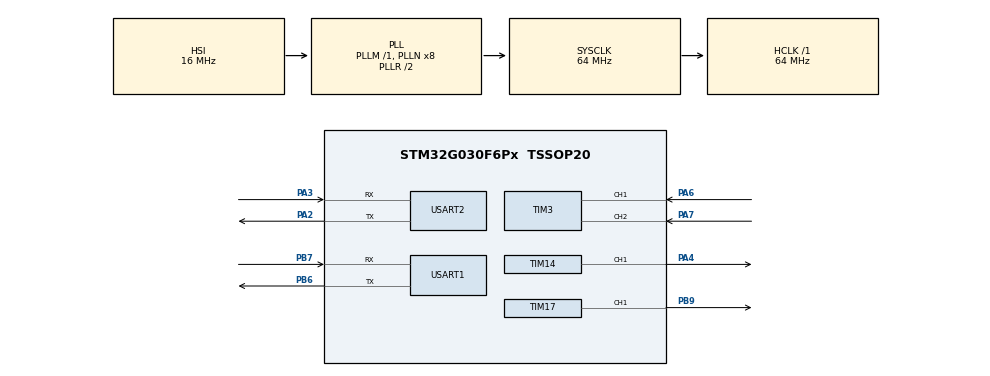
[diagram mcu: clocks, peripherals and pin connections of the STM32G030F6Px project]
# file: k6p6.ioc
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Mcu.Family=STM32G0
Mcu.Name=STM32G030F6Px
Mcu.Package=TSSOP20
PA13.Mode=Serial_Wire
PA13.Signal=SYS_SWDIO
PA14-BOOT0.Mode=Serial_Wire
PA14-BOOT0.Signal=SYS_SWCLK
PA2.Mode=Asynchronous
PA2.Signal=USART2_TX
PA3.Mode=Asynchronous
PA3.Signal=USART2_RX
PA4.Signal=S_TIM14_CH1
PA6.Signal=S_TIM3_CH1
PA7.Signal=S_TIM3_CH2
PB6.Mode=Asynchronous
PB6.Signal=USART1_TX
PB7.Mode=Asynchronous
PB7.Signal=USART1_RX
PB9.Signal=S_TIM17_CH1
ProjectManager.HeapSize=0x200
ProjectManager.StackSize=0x400
ProjectManager.TargetToolchain=MDK-ARM V5.32
RCC.ADCFreq_Value=64000000
RCC.AHBFreq_Value=64000000
RCC.CortexFreq_Value=64000000
RCC.EXTERNAL_CLOCK_VALUE=12288000
RCC.HCLKFreq_Value=64000000
RCC.HSE_VALUE=8000000
RCC.HSI_VALUE=16000000
RCC.LSE_VALUE=32768
RCC.SYSCLKFreq_VALUE=64000000
RCC.SYSCLKSource=RCC_SYSCLKSOURCE_PLLCLK
RCC.VCOOutputFreq_Value=128000000
SH.S_TIM14_CH1.0=TIM14_CH1,PWM Generation1 CH1
SH.S_TIM17_CH1.0=TIM17_CH1,PWM Generation1 CH1
SH.S_TIM3_CH1.0=TIM3_CH1,Encoder_Interface
SH.S_TIM3_CH2.0=TIM3_CH2,Encoder_Interface
TIM14.Channel=TIM_CHANNEL_1
TIM14.Period=99
TIM14.Prescaler=6399
TIM14.Pulse=0
TIM17.Channel=TIM_CHANNEL_1
TIM17.Period=99
TIM17.Prescaler=6399
TIM17.Pulse=0
USART1.VirtualMode-Asynchronous=VM_ASYNC
USART2.VirtualMode-Asynchronous=VM_ASYNC
VP_TIM14_VS_ClockSourceINT.Mode=Enable_Timer
VP_TIM17_VS_ClockSourceINT.Mode=Enable_Timer
board=custom

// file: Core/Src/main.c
/* USER CODE BEGIN Header */
/**
  ******************************************************************************
  * @file           : main.c
  * @brief          : Main program body
  ******************************************************************************
  * @attention
  *
  * <h2><center>&copy; Copyright (c) 2021 STMicroelectronics.
  * All rights reserved.</center></h2>
  *
  * This software component is licensed by ST under BSD 3-Clause license,
  * the "License"; You may not use this file except in compliance with the
  * License. You may obtain a copy of the License at:
  *                        opensource.org/licenses/BSD-3-Clause
  *
  ******************************************************************************
  */
/* USER CODE END Header */
#include "main.h"

/* USER CODE BEGIN Includes */
#include <stdio.h>

/* USER CODE END Includes */

TIM_HandleTypeDef htim3;
TIM_HandleTypeDef htim14;
TIM_HandleTypeDef htim17;

UART_HandleTypeDef huart1;
UART_HandleTypeDef huart2;

void SystemClock_Config(void);
static void MX_GPIO_Init(void);
static void MX_USART1_UART_Init(void);
static void MX_TIM3_Init(void);
static void MX_USART2_UART_Init(void);
static void MX_TIM14_Init(void);
static void MX_TIM17_Init(void);

int main(void)
{

  /* MCU Configuration--------------------------------------------------------*/

  /* Reset of all peripherals, Initializes the Flash interface and the Systick. */
  HAL_Init();

  /* Configure the system clock */
  SystemClock_Config();

  /* Initialize all configured peripherals */
  MX_GPIO_Init();
  MX_USART1_UART_Init();
  MX_TIM3_Init();
  MX_USART2_UART_Init();
  MX_TIM14_Init();
  MX_TIM17_Init();
  /* USER CODE BEGIN 2 */
	HAL_Delay(100);
	printf("demo");
	HAL_TIM_PWM_Start(&htim14, TIM_CHANNEL_1);
	HAL_TIM_PWM_Start(&htim17, TIM_CHANNEL_1);
	HAL_TIM_Encoder_Start(&htim3,TIM_CHANNEL_ALL);
int GetData =0 ;//?????

	__HAL_TIM_SET_COMPARE(&htim14,TIM_CHANNEL_1,50);
	__HAL_TIM_SET_COMPARE(&htim17,TIM_CHANNEL_1,50);
  /* USER CODE END 2 */

  /* Infinite loop */
  /* USER CODE BEGIN WHILE */
  while (1)
  {
		GetData = __HAL_TIM_GET_COUNTER(&htim3);
		printf("%d\n",GetData);
		HAL_Delay(10);
    /* USER CODE END WHILE */

  }
}
void SystemClock_Config(void)
{
  RCC_OscInitTypeDef RCC_OscInitStruct = {0};
  RCC_ClkInitTypeDef RCC_ClkInitStruct = {0};
  RCC_PeriphCLKInitTypeDef PeriphClkInit = {0};

  /** Configure the main internal regulator output voltage
  */
  HAL_PWREx_ControlVoltageScaling(PWR_REGULATOR_VOLTAGE_SCALE1);
  /** Initializes the RCC Oscillators according to the specified parameters
  * in the RCC_OscInitTypeDef structure.
  */
  RCC_OscInitStruct.OscillatorType = RCC_OSCILLATORTYPE_HSI;
  RCC_OscInitStruct.HSIState = RCC_HSI_ON;
  RCC_OscInitStruct.HSIDiv = RCC_HSI_DIV1;
  RCC_OscInitStruct.HSICalibrationValue = RCC_HSICALIBRATION_DEFAULT;
  RCC_OscInitStruct.PLL.PLLState = RCC_PLL_ON;
  RCC_OscInitStruct.PLL.PLLSource = RCC_PLLSOURCE_HSI;
  RCC_OscInitStruct.PLL.PLLM = RCC_PLLM_DIV1;
  RCC_OscInitStruct.PLL.PLLN = 8;
  RCC_OscInitStruct.PLL.PLLP = RCC_PLLP_DIV2;
  RCC_OscInitStruct.PLL.PLLR = RCC_PLLR_DIV2;
  if (HAL_RCC_OscConfig(&RCC_OscInitStruct) != HAL_OK)
  {
    Error_Handler();
  }
  /** Initializes the CPU, AHB and APB buses clocks
  */
  RCC_ClkInitStruct.ClockType = RCC_CLOCKTYPE_HCLK|RCC_CLOCKTYPE_SYSCLK
                              |RCC_CLOCKTYPE_PCLK1;
  RCC_ClkInitStruct.SYSCLKSource = RCC_SYSCLKSOURCE_PLLCLK;
  RCC_ClkInitStruct.AHBCLKDivider = RCC_SYSCLK_DIV1;
  RCC_ClkInitStruct.APB1CLKDivider = RCC_HCLK_DIV1;

  if (HAL_RCC_ClockConfig(&RCC_ClkInitStruct, FLASH_LATENCY_2) != HAL_OK)
  {
    Error_Handler();
  }
  /** Initializes the peripherals clocks
  */
  PeriphClkInit.PeriphClockSelection = RCC_PERIPHCLK_USART1;
  PeriphClkInit.Usart1ClockSelection = RCC_USART1CLKSOURCE_PCLK1;
  if (HAL_RCCEx_PeriphCLKConfig(&PeriphClkInit) != HAL_OK)
  {
    Error_Handler();
  }
}

static void MX_TIM3_Init(void)
{

  TIM_Encoder_InitTypeDef sConfig = {0};
  TIM_MasterConfigTypeDef sMasterConfig = {0};

  htim3.Instance = TIM3;
  htim3.Init.Prescaler = 0;
  htim3.Init.CounterMode = TIM_COUNTERMODE_UP;
  htim3.Init.Period = 65535;
  htim3.Init.ClockDivision = TIM_CLOCKDIVISION_DIV1;
  htim3.Init.AutoReloadPreload = TIM_AUTORELOAD_PRELOAD_DISABLE;
  sConfig.EncoderMode = TIM_ENCODERMODE_TI1;
  sConfig.IC1Polarity = TIM_ICPOLARITY_RISING;
  sConfig.IC1Selection = TIM_ICSELECTION_DIRECTTI;
  sConfig.IC1Prescaler = TIM_ICPSC_DIV1;
  sConfig.IC1Filter = 0;
  sConfig.IC2Polarity = TIM_ICPOLARITY_RISING;
  sConfig.IC2Selection = TIM_ICSELECTION_DIRECTTI;
  sConfig.IC2Prescaler = TIM_ICPSC_DIV1;
  sConfig.IC2Filter = 0;
  if (HAL_TIM_Encoder_Init(&htim3, &sConfig) != HAL_OK)
  {
    Error_Handler();
  }
  sMasterConfig.MasterOutputTrigger = TIM_TRGO_RESET;
  sMasterConfig.MasterSlaveMode = TIM_MASTERSLAVEMODE_DISABLE;
  if (HAL_TIMEx_MasterConfigSynchronization(&htim3, &sMasterConfig) != HAL_OK)
  {
    Error_Handler();
  }

}

static void MX_TIM14_Init(void)
{

  TIM_OC_InitTypeDef sConfigOC = {0};

  htim14.Instance = TIM14;
  htim14.Init.Prescaler = 63;
  htim14.Init.CounterMode = TIM_COUNTERMODE_UP;
  htim14.Init.Period = 1000;
  htim14.Init.ClockDivision = TIM_CLOCKDIVISION_DIV1;
  htim14.Init.AutoReloadPreload = TIM_AUTORELOAD_PRELOAD_DISABLE;
  if (HAL_TIM_Base_Init(&htim14) != HAL_OK)
  {
    Error_Handler();
  }
  if (HAL_TIM_PWM_Init(&htim14) != HAL_OK)
  {
    Error_Handler();
  }
  sConfigOC.OCMode = TIM_OCMODE_PWM1;
  sConfigOC.Pulse = 500;
  sConfigOC.OCPolarity = TIM_OCPOLARITY_HIGH;
  sConfigOC.OCFastMode = TIM_OCFAST_DISABLE;
  if (HAL_TIM_PWM_ConfigChannel(&htim14, &sConfigOC, TIM_CHANNEL_1) != HAL_OK)
  {
    Error_Handler();
  }
  HAL_TIM_MspPostInit(&htim14);

}

static void MX_TIM17_Init(void)
{

  TIM_OC_InitTypeDef sConfigOC = {0};
  TIM_BreakDeadTimeConfigTypeDef sBreakDeadTimeConfig = {0};

  htim17.Instance = TIM17;
  htim17.Init.Prescaler = 63;
  htim17.Init.CounterMode = TIM_COUNTERMODE_UP;
  htim17.Init.Period = 999;
  htim17.Init.ClockDivision = TIM_CLOCKDIVISION_DIV1;
  htim17.Init.RepetitionCounter = 0;
  htim17.Init.AutoReloadPreload = TIM_AUTORELOAD_PRELOAD_DISABLE;
  if (HAL_TIM_Base_Init(&htim17) != HAL_OK)
  {
    Error_Handler();
  }
  if (HAL_TIM_PWM_Init(&htim17) != HAL_OK)
  {
    Error_Handler();
  }
  sConfigOC.OCMode = TIM_OCMODE_PWM1;
  sConfigOC.Pulse = 0;
  sConfigOC.OCPolarity = TIM_OCPOLARITY_HIGH;
  sConfigOC.OCNPolarity = TIM_OCNPOLARITY_HIGH;
  sConfigOC.OCFastMode = TIM_OCFAST_DISABLE;
  sConfigOC.OCIdleState = TIM_OCIDLESTATE_RESET;
  sConfigOC.OCNIdleState = TIM_OCNIDLESTATE_RESET;
  if (HAL_TIM_PWM_ConfigChannel(&htim17, &sConfigOC, TIM_CHANNEL_1) != HAL_OK)
  {
    Error_Handler();
  }
  sBreakDeadTimeConfig.OffStateRunMode = TIM_OSSR_DISABLE;
  sBreakDeadTimeConfig.OffStateIDLEMode = TIM_OSSI_DISABLE;
  sBreakDeadTimeConfig.LockLevel = TIM_LOCKLEVEL_OFF;
  sBreakDeadTimeConfig.DeadTime = 0;
  sBreakDeadTimeConfig.BreakState = TIM_BREAK_DISABLE;
  sBreakDeadTimeConfig.BreakPolarity = TIM_BREAKPOLARITY_HIGH;
  sBreakDeadTimeConfig.BreakFilter = 0;
  sBreakDeadTimeConfig.AutomaticOutput = TIM_AUTOMATICOUTPUT_DISABLE;
  if (HAL_TIMEx_ConfigBreakDeadTime(&htim17, &sBreakDeadTimeConfig) != HAL_OK)
  {
    Error_Handler();
  }
  HAL_TIM_MspPostInit(&htim17);

}

static void MX_USART1_UART_Init(void)
{

  huart1.Instance = USART1;
  huart1.Init.BaudRate = 115200;
  huart1.Init.WordLength = UART_WORDLENGTH_8B;
  huart1.Init.StopBits = UART_STOPBITS_1;
  huart1.Init.Parity = UART_PARITY_NONE;
  huart1.Init.Mode = UART_MODE_TX_RX;
  huart1.Init.HwFlowCtl = UART_HWCONTROL_NONE;
  huart1.Init.OverSampling = UART_OVERSAMPLING_16;
  huart1.Init.OneBitSampling = UART_ONE_BIT_SAMPLE_DISABLE;
  huart1.Init.ClockPrescaler = UART_PRESCALER_DIV1;
  huart1.AdvancedInit.AdvFeatureInit = UART_ADVFEATURE_NO_INIT;
  if (HAL_UART_Init(&huart1) != HAL_OK)
  {
    Error_Handler();
  }
  if (HAL_UARTEx_SetTxFifoThreshold(&huart1, UART_TXFIFO_THRESHOLD_1_8) != HAL_OK)
  {
    Error_Handler();
  }
  if (HAL_UARTEx_SetRxFifoThreshold(&huart1, UART_RXFIFO_THRESHOLD_1_8) != HAL_OK)
  {
    Error_Handler();
  }
  if (HAL_UARTEx_DisableFifoMode(&huart1) != HAL_OK)
  {
    Error_Handler();
  }

}

static void MX_USART2_UART_Init(void)
{

  huart2.Instance = USART2;
  huart2.Init.BaudRate = 115200;
  huart2.Init.WordLength = UART_WORDLENGTH_8B;
  huart2.Init.StopBits = UART_STOPBITS_1;
  huart2.Init.Parity = UART_PARITY_NONE;
  huart2.Init.Mode = UART_MODE_TX_RX;
  huart2.Init.HwFlowCtl = UART_HWCONTROL_NONE;
  huart2.Init.OverSampling = UART_OVERSAMPLING_16;
  huart2.Init.OneBitSampling = UART_ONE_BIT_SAMPLE_DISABLE;
  huart2.Init.ClockPrescaler = UART_PRESCALER_DIV1;
  huart2.AdvancedInit.AdvFeatureInit = UART_ADVFEATURE_NO_INIT;
  if (HAL_UART_Init(&huart2) != HAL_OK)
  {
    Error_Handler();
  }

}

static void MX_GPIO_Init(void)
{

  /* GPIO Ports Clock Enable */
  __HAL_RCC_GPIOB_CLK_ENABLE();
  __HAL_RCC_GPIOA_CLK_ENABLE();

}

/* USER CODE BEGIN 4 */

int fputc(int ch, FILE *f)
{
  HAL_UART_Transmit(&huart1, (uint8_t *)&ch, 1, 0xffff);
  return ch;
}
 int fgetc(FILE *f)
{
  uint8_t ch = 0;
HAL_UART_Receive(&huart1, &ch, 1, 0xffff);
  return ch;
}
/* USER CODE END 4 */

void Error_Handler(void)
{
  __disable_irq();
  while (1)
  {
  }
}

/************************ (C) COPYRIGHT STMicroelectronics *****END OF FILE****/
